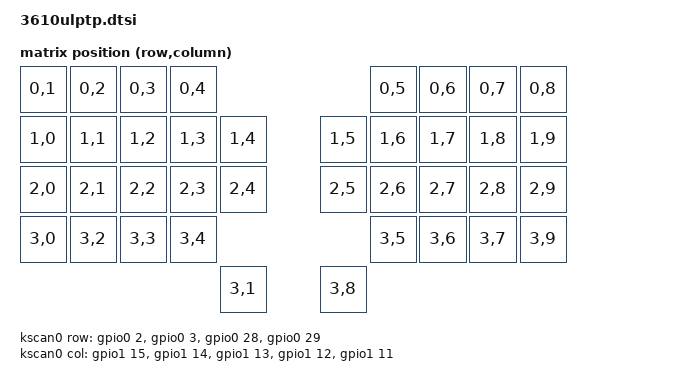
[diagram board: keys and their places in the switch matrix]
/*
 * Copyright (c) 2020 The ZMK Contributors
 *
 * SPDX-License-Identifier: MIT
 */

#include <dt-bindings/zmk/matrix_transform.h>
/*
36ChULP10 — 36v10_ULP_combo PCB (38 keys = 369ulptp layout + 2 center thumb keys)

Accessory pin map from the v10 PCB (J3 right / J101 left, same pins both halves):
CS(SS) pin is P0.31
DR is P0.10
Encoder A and B are P1.01 and P0.09
SDA P0.04
SCL P0.05
MISO P1.05
MOSI P1.07
SCK  P1.03
BTN3 P0.15
*/
// Encoders (provision only — J3/J101 EncoderA/B pads; wired identically on both halves)
// /{
//     sensors: sensors {
//         compatible = "zmk,keymap-sensors";
//         sensors = <
//         &left_encoder
//         &right_encoder
//         >;
//         triggers-per-rotation = <24>;
//     };
//     left_encoder: encoder_left {
//         compatible = "alps,ec11";
//         a-gpios = <&gpio1 1 (GPIO_ACTIVE_HIGH | GPIO_PULL_UP)>; // EncoderA_L P1.01
//         b-gpios = <&gpio0 9 (GPIO_ACTIVE_HIGH | GPIO_PULL_UP)>; // EncoderB_L P0.09
//         steps = <48>;
//         status = "disabled";
//     };
//     right_encoder: encoder_right {
//         compatible = "alps,ec11";
//         a-gpios = <&gpio1 1 (GPIO_ACTIVE_HIGH | GPIO_PULL_UP)>; // EncoderA P1.01
//         b-gpios = <&gpio0 9 (GPIO_ACTIVE_HIGH | GPIO_PULL_UP)>; // EncoderB P0.09
//         steps = <48>;
//         status = "disabled";
//     };
// };
/{
    kscan0: kscan {
        compatible = "zmk,kscan-gpio-matrix";
        label = "KSCAN";
        diode-direction = "col2row";
    col-gpios
    	= <&gpio1 15 GPIO_ACTIVE_HIGH>//Col0 (net col10/col110, P1.15)
        , <&gpio1 14 GPIO_ACTIVE_HIGH>//Col1 (net col11/col111, P1.14)
        , <&gpio1 13 GPIO_ACTIVE_HIGH>//Col2 (net col12/col112, P1.13)
        , <&gpio1 12 GPIO_ACTIVE_HIGH>//Col3 (net col13/col113, P1.12)
        , <&gpio1 11 GPIO_ACTIVE_HIGH>//Col4 (net col14/col114, P1.11)
        ;
	row-gpios
        = <&gpio0 2 (GPIO_ACTIVE_HIGH | GPIO_PULL_DOWN)>   //Row0 top    (net row10/row110, P0.02)
        , <&gpio0 3 (GPIO_ACTIVE_HIGH | GPIO_PULL_DOWN)>   //Row1        (net row11/row111, P0.03)
        , <&gpio0 28 (GPIO_ACTIVE_HIGH | GPIO_PULL_DOWN)>  //Row2        (net row12/row112, P0.28)
        , <&gpio0 29 (GPIO_ACTIVE_HIGH | GPIO_PULL_DOWN)>  //Row3 bottom (net row13/row113, P0.29)
        ;
    };
};

/ {
	chosen {
		zmk,kscan = &kscan0;
		zmk,matrix_transform = &default_transform;
	};

	default_transform: keymap_transform_0 {
		compatible = "zmk,matrix-transform";
		columns = <10>;
		rows = <4>;
// Physical layout, v10 combo PCB refdes (left half | right half):
// |   ---  | SW104 | SW103 | SW102 | SW101 |         | SW1  | SW2  | SW3  | SW4  |  ---  |
// |  SW109 | SW108 | SW107 | SW106 | SW105 |         | SW7  | SW8  | SW9  | SW10 | SW11  |
// |  SW114 | SW113 | SW112 | SW111 | SW110 |         | SW13 | SW14 | SW15 | SW16 | SW17  |
// |  SW118 |  ---  | SW117 | SW116 | SW115 | SW120 | SW45 | SW18 | SW19 | SW20 |  ---  | SW21 |
//
// SW120 / SW45 are the NEW v10 inner thumb keys: RC(3,1) and RC(3,8) — the matrix
// slots that were unused on 369ulptp. They are appended at the END of the map
// (keymap positions 36 and 37) so the original 36 key positions keep the same
// indices and every combo in ../369p/369p_behaviors.dtsi stays valid unchanged.
		map = <
        RC(0,1) RC(0,2) RC(0,3) RC(0,4)       RC(0,5) RC(0,6) RC(0,7) RC(0,8)
RC(1,0) RC(1,1) RC(1,2) RC(1,3) RC(1,4)       RC(1,5) RC(1,6) RC(1,7) RC(1,8) RC(1,9)
RC(2,0) RC(2,1) RC(2,2) RC(2,3) RC(2,4)       RC(2,5) RC(2,6) RC(2,7) RC(2,8) RC(2,9)
RC(3,0)         RC(3,2) RC(3,3) RC(3,4)       RC(3,5) RC(3,6) RC(3,7)         RC(3,9)
RC(3,1) RC(3,8)
		>;
	};
};
